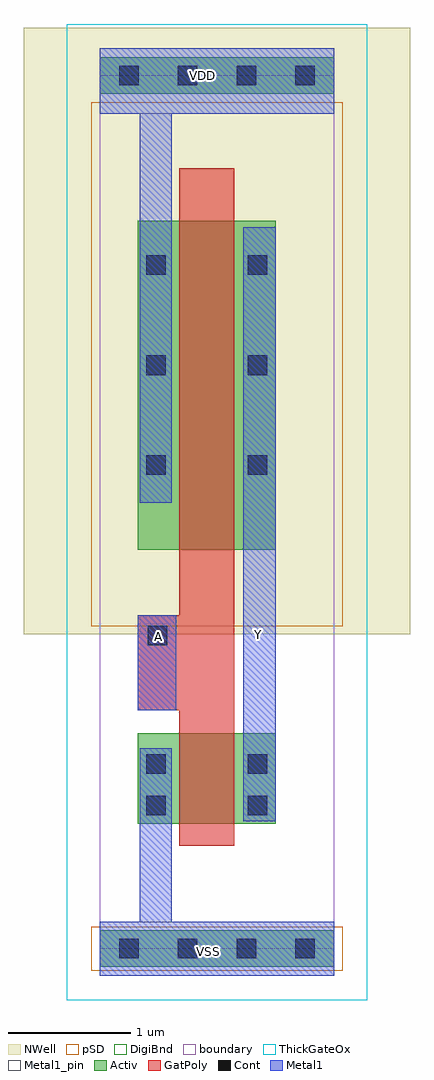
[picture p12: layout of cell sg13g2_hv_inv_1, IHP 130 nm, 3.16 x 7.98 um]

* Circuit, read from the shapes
.subckt sg13g2_hv_inv_1 A VDD VSS Y
XM1 Y A VSS VSS sg13_hv_nmos w=0.74u l=0.45u
XM2 Y A VDD VDD sg13_hv_pmos w=2.69u l=0.45u
.ends

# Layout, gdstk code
import gdstk
lib = gdstk.Library(unit=1e-6, precision=1e-09)
def R(c, l, rs):  # rectangles x0, y0, x1, y1
    for r in rs: c.add(gdstk.rectangle(r[:2], r[2:], *l))
def A(c, l, x, y, w, h, nx, ny, dx, dy):  # array of equal rectangles
    R(c, l, [(x+i*dx, y+j*dy, x+i*dx+w, y+j*dy+h) for i in range(nx) for j in range(ny)])
def P(c, l, *ps):  # polygons
    for p in ps: c.add(gdstk.Polygon(p, *l))
Activ = (1, 0)
GatPoly = (5, 0)
Cont = (6, 0)
Metal1 = (8, 0)
Metal1_pin = (8, 2)
pSD = (14, 0)
DigiBnd = (16, 0)
NWell = (31, 0)
ThickGateOx = (44, 0)
boundary = (189, 4)

sg13g2_hv_inv_1 = lib.new_cell('sg13g2_hv_inv_1')
R(sg13g2_hv_inv_1, Activ, [(0,-0.15,1.92,0.15), (0.31,1.02,1.44,1.76), (0.31,3.26,1.44,5.95), (0,6.99,1.92,7.29)])
P(sg13g2_hv_inv_1, GatPoly, [(0.65,0.84),(0.65,1.95),(0.31,1.95),(0.31,2.725),(0.65,2.725),(0.65,6.38),(1.1,6.38),(1.1,0.84)])
A(sg13g2_hv_inv_1, Cont, 0.16, -0.08, 0.16, 0.16, 4, 2, 0.48, 7.14)
R(sg13g2_hv_inv_1, Cont, [(0.38,1.09,0.54,1.25), (1.21,1.09,1.37,1.25), (0.38,1.43,0.54,1.59), (1.21,1.43,1.37,1.59), (0.395,2.48,0.555,2.64), (0.38,3.875,0.54,4.035), (1.21,3.875,1.37,4.035), (0.38,4.69,0.54,4.85), (1.21,4.69,1.37,4.85), (0.38,5.51,0.54,5.67), (1.21,5.51,1.37,5.67)])
R(sg13g2_hv_inv_1, Metal1, [(1.175,1.04,1.405,5.9), (1.405,1.04,1.44,5.9), (0.31,1.95,0.625,2.725)])
P(sg13g2_hv_inv_1, Metal1, [(0.33,3.645),(0.33,6.825),(0,6.825),(0,7.36),(1.92,7.36),(1.92,6.825),(0.59,6.825),(0.59,3.645)],
  [(0,-0.22),(0,0.22),(0.33,0.22),(0.33,1.64),(0.59,1.64),(0.59,0.22),(1.92,0.22),(1.92,-0.22)])
R(sg13g2_hv_inv_1, Metal1_pin, [(0,-0.22,1.92,0.22), (1.175,1.04,1.405,5.9), (1.405,1.04,1.44,5.9), (0.31,1.95,0.625,2.725), (0,6.825,1.92,7.36)])
R(sg13g2_hv_inv_1, pSD, [(-0.07,-0.18,1.99,0.18), (-0.07,2.635,1.99,6.92)])
R(sg13g2_hv_inv_1, DigiBnd, [(0,0,1.92,7.14)])
R(sg13g2_hv_inv_1, NWell, [(-0.62,2.57,2.54,7.53)])
R(sg13g2_hv_inv_1, ThickGateOx, [(-0.27,-0.42,2.19,7.56)])
R(sg13g2_hv_inv_1, boundary, [(0,0,1.92,7.14)])
sg13g2_hv_inv_1.add(gdstk.Label('Y', (1.3,2.565), layer=8, texttype=25))
sg13g2_hv_inv_1.add(gdstk.Label('A', (0.48,2.555), layer=8, texttype=25))
sg13g2_hv_inv_1.add(gdstk.Label('VSS', (0.89,-0.02), layer=8, texttype=25))
sg13g2_hv_inv_1.add(gdstk.Label('VDD', (0.84,7.14), layer=8, texttype=25))

lib.write_gds('sg13g2_hv_inv_1.gds')
